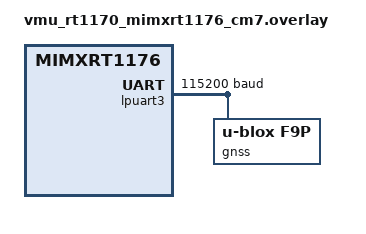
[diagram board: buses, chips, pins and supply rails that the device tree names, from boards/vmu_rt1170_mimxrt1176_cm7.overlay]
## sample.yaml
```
# Copyright (c) 2023 Trackunit Corporation
# SPDX-License-Identifier: Apache-2.0

sample:
  name: GNSS RTK sample
tests:
  sample.drivers.gnss.rtk:
    tags:
      - drivers
      - gnss
    filter: dt_alias_exists("gnss")
    integration_platforms:
      - mimxrt1062_fmurt6
```

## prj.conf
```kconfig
# Copyright (c) 2023 Trackunit Corporation
# SPDX-License-Identifier: Apache-2.0

CONFIG_GNSS=y
CONFIG_GNSS_SATELLITES=y

CONFIG_GNSS_RTK=y
CONFIG_GNSS_RTK_SERIAL=y

CONFIG_LOG=y
CONFIG_LOG_BUFFER_SIZE=8192
CONFIG_GNSS_DUMP_TO_LOG=y
CONFIG_GNSS_DUMP_TO_LOG_BUF_SIZE=1024
CONFIG_GNSS_LOG_LEVEL_DBG=y
CONFIG_MODEM_MODULES_LOG_LEVEL_DBG=y
```

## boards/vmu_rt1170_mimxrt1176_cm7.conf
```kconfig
CONFIG_SHELL=n
```

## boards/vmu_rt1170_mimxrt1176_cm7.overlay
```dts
/*
 * Copyright 2024 (c) NXP
 * Copyright 2025 (c) Croxel Inc.
 * Copyright 2025 (c) CogniPilot Foundation
 *
 * SPDX-License-Identifier: Apache-2.0
 */

/ {
	aliases {
		gnss = &gnss;
	};
	chosen {
		zephyr,rtk-serial = &lpuart1;
	};
};

&lpuart3 {
	status = "okay";
	current-speed = <115200>;

	gnss: gnss {
		status = "okay";
		compatible = "u-blox,f9p";
	};
};
```

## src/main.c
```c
/*
 * Copyright (c) 2023 Trackunit Corporation
 *
 * SPDX-License-Identifier: Apache-2.0
 */

#include <stdio.h>
#include <zephyr/device.h>
#include <zephyr/drivers/gnss.h>
#include <zephyr/logging/log.h>
#include <zephyr/rtk/rtk.h>

#define GNSS_MODEM DEVICE_DT_GET(DT_ALIAS(gnss))

LOG_MODULE_REGISTER(gnss_sample, CONFIG_GNSS_LOG_LEVEL);

static void gnss_data_cb(const struct device *dev, const struct gnss_data *data)
{
	uint64_t timepulse_ns;
	k_ticks_t timepulse;

	if (data->info.fix_status != GNSS_FIX_STATUS_NO_FIX) {
		if (gnss_get_latest_timepulse(dev, &timepulse) == 0) {
			timepulse_ns = k_ticks_to_ns_near64(timepulse);
			printf("Got a fix (type: %d) @ %lld ns\n",
				data->info.fix_status, timepulse_ns);
		} else {
			printf("Got a fix (type: %d)\n", data->info.fix_status);
		}
	}
}
GNSS_DATA_CALLBACK_DEFINE(GNSS_MODEM, gnss_data_cb);

#if CONFIG_GNSS_SATELLITES
static void gnss_satellites_cb(const struct device *dev, const struct gnss_satellite *satellites,
			       uint16_t size)
{
	unsigned int tracked_count = 0;
	unsigned int corrected_count = 0;

	for (unsigned int i = 0; i != size; ++i) {
		tracked_count += satellites[i].is_tracked;
		corrected_count += satellites[i].is_corrected;
	}
	printf("%u satellite%s reported (of which %u tracked, of which %u has RTK corrections)!\n",
		size, size > 1 ? "s" : "", tracked_count, corrected_count);
}
#endif
GNSS_SATELLITES_CALLBACK_DEFINE(GNSS_MODEM, gnss_satellites_cb);

static void rtk_data_cb(const struct device *dev, const struct rtk_data *data)
{
	printf("RTK data received!\n");
}

RTK_DATA_CALLBACK_DEFINE(GNSS_MODEM, rtk_data_cb);

#define GNSS_SYSTEMS_PRINTF(define, supported, enabled)                                            \
	printf("\t%20s: Supported: %3s Enabled: %3s\n",                                            \
	       STRINGIFY(define), (supported & define) ? "Yes" : "No",                             \
			 (enabled & define) ? "Yes" : "No");

int main(void)
{
	gnss_systems_t supported, enabled;
	uint32_t fix_interval;
	int rc;

	rc = gnss_get_supported_systems(GNSS_MODEM, &supported);
	if (rc < 0) {
		printf("Failed to query supported systems (%d)\n", rc);
		return rc;
	}
	rc = gnss_get_enabled_systems(GNSS_MODEM, &enabled);
	if (rc < 0) {
		printf("Failed to query enabled systems (%d)\n", rc);
		return rc;
	}
	printf("GNSS Systems:\n");
	GNSS_SYSTEMS_PRINTF(GNSS_SYSTEM_GPS, supported, enabled);
	GNSS_SYSTEMS_PRINTF(GNSS_SYSTEM_GLONASS, supported, enabled);
	GNSS_SYSTEMS_PRINTF(GNSS_SYSTEM_GALILEO, supported, enabled);
	GNSS_SYSTEMS_PRINTF(GNSS_SYSTEM_BEIDOU, supported, enabled);
	GNSS_SYSTEMS_PRINTF(GNSS_SYSTEM_QZSS, supported, enabled);
	GNSS_SYSTEMS_PRINTF(GNSS_SYSTEM_IRNSS, supported, enabled);
	GNSS_SYSTEMS_PRINTF(GNSS_SYSTEM_SBAS, supported, enabled);
	GNSS_SYSTEMS_PRINTF(GNSS_SYSTEM_IMES, supported, enabled);

	rc = gnss_get_fix_rate(GNSS_MODEM, &fix_interval);
	if (rc < 0) {
		printf("Failed to query fix rate (%d)\n", rc);
		return rc;
	}
	printf("Fix rate = %d ms\n", fix_interval);

	return 0;
}
```
